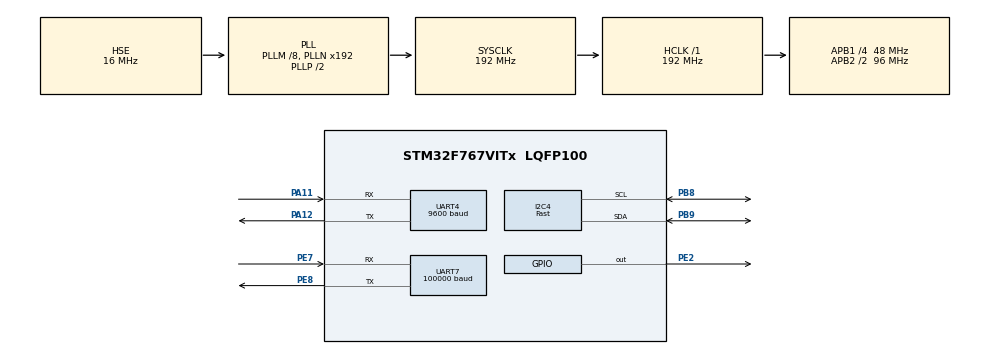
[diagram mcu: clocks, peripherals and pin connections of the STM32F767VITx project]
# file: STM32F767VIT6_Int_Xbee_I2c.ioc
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Dma.Request0=UART7_RX
Dma.UART7_RX.0.Direction=DMA_PERIPH_TO_MEMORY
Dma.UART7_RX.0.FIFOMode=DMA_FIFOMODE_DISABLE
Dma.UART7_RX.0.Instance=DMA1_Stream3
Dma.UART7_RX.0.MemDataAlignment=DMA_MDATAALIGN_BYTE
Dma.UART7_RX.0.MemInc=DMA_MINC_ENABLE
Dma.UART7_RX.0.Mode=DMA_NORMAL
Dma.UART7_RX.0.PeriphDataAlignment=DMA_PDATAALIGN_BYTE
Dma.UART7_RX.0.PeriphInc=DMA_PINC_DISABLE
Dma.UART7_RX.0.Priority=DMA_PRIORITY_LOW
I2C4.I2C_Speed_Mode=I2C_Fast
I2C4.Timing=0x2010091A
Mcu.Family=STM32F7
Mcu.Name=STM32F767VITx
Mcu.Package=LQFP100
NVIC.DMA1_Stream3_IRQn=true\:0\:0\:false\:false\:true\:false\:true
NVIC.PriorityGroup=NVIC_PRIORITYGROUP_4
NVIC.TIM2_IRQn=true\:0\:0\:false\:false\:true\:true\:true
PA11.Mode=Asynchronous
PA11.Signal=UART4_RX
PA12.Mode=Asynchronous
PA12.Signal=UART4_TX
PA13.Mode=Serial_Wire
PA13.Signal=SYS_JTMS-SWDIO
PA14.Mode=Serial_Wire
PA14.Signal=SYS_JTCK-SWCLK
PB8.Mode=I2C
PB8.Signal=I2C4_SCL
PB9.Mode=I2C
PB9.Signal=I2C4_SDA
PE2.Signal=GPIO_Output
PE7.Mode=Asynchronous
PE7.Signal=UART7_RX
PE8.Mode=Asynchronous
PE8.Signal=UART7_TX
PH0/OSC_IN.Mode=HSE-External-Oscillator
PH0/OSC_IN.Signal=RCC_OSC_IN
PH1/OSC_OUT.Mode=HSE-External-Oscillator
PH1/OSC_OUT.Signal=RCC_OSC_OUT
ProjectManager.HeapSize=0x200
ProjectManager.StackSize=0x400
ProjectManager.TargetToolchain=Makefile
RCC.AHBFreq_Value=192000000
RCC.APB1CLKDivider=RCC_HCLK_DIV4
RCC.APB1Freq_Value=48000000
RCC.APB1TimFreq_Value=96000000
RCC.APB2CLKDivider=RCC_HCLK_DIV2
RCC.APB2Freq_Value=96000000
RCC.APB2TimFreq_Value=192000000
RCC.CortexFreq_Value=192000000
RCC.HCLKFreq_Value=192000000
RCC.HSE_VALUE=16000000
RCC.HSI_VALUE=16000000
RCC.LSE_VALUE=32768
RCC.PLLM=8
RCC.PLLSourceVirtual=RCC_PLLSOURCE_HSE
RCC.SYSCLKFreq_VALUE=192000000
RCC.SYSCLKSource=RCC_SYSCLKSOURCE_PLLCLK
RCC.USBFreq_Value=192000000
RCC.VCOOutputFreq_Value=384000000
TIM1.Period=65000
TIM1.Prescaler=191
TIM2.Period=9999
TIM2.Prescaler=95
UART4.BaudRate=9600
UART7.BaudRate=100000
UART7.WordLength=WORDLENGTH_9B
VP_TIM1_VS_ClockSourceINT.Mode=Internal
VP_TIM2_VS_ClockSourceINT.Mode=Internal
board=custom

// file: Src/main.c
/* USER CODE BEGIN Header */
/**
  ******************************************************************************
  * @file           : main.c
  * @brief          : Main program body
  ******************************************************************************
  * @attention
  *
  * <h2><center>&copy; Copyright (c) 2021 STMicroelectronics.
  * All rights reserved.</center></h2>
  *
  * This software component is licensed by ST under BSD 3-Clause license,
  * the "License"; You may not use this file except in compliance with the
  * License. You may obtain a copy of the License at:
  *                        opensource.org/licenses/BSD-3-Clause
  *
  ******************************************************************************
  */
/* USER CODE END Header */

#include "main.h"

/* USER CODE BEGIN Includes */

#include <stdio.h>
#include "BMX160.h"
#include <string.h>

/* USER CODE END Includes */

I2C_HandleTypeDef hi2c4;

TIM_HandleTypeDef htim2;

UART_HandleTypeDef huart4;
UART_HandleTypeDef huart7;
DMA_HandleTypeDef hdma_uart7_rx;

/* USER CODE BEGIN PV */

BMX_IMU_typedef BMX; //BMX strut creation

uint8_t buff[32]; //buffer for data transmission
char string[] = "Hello World!\r\n";
uint8_t main_counter = 0; //counter to trigger events only after some main cycles
uint8_t tlm_counter = 0; //counter to send telemetry
HAL_StatusTypeDef ret;

float Tlm_Tx_buff[6]; //buffer to store the floating point values to send via telemetry

float sample_time = 0.01; //[s] sample time

/* USER CODE END PV */

void SystemClock_Config(void);
static void MX_GPIO_Init(void);
static void MX_DMA_Init(void);
static void MX_I2C4_Init(void);
static void MX_TIM2_Init(void);
static void MX_UART4_Init(void);
static void MX_UART7_Init(void);
static void MX_TIM1_Init(void);
/* USER CODE BEGIN PFP */

void BMX_Init(BMX_IMU_typedef *BMX_str);//init for BMX

/* USER CODE END PFP */

int main(void)
{

  /* MCU Configuration--------------------------------------------------------*/

  /* Reset of all peripherals, Initializes the Flash interface and the Systick. */
  HAL_Init();

  /* Configure the system clock */
  SystemClock_Config();

  /* Initialize all configured peripherals */
  MX_GPIO_Init();
  MX_DMA_Init();
  MX_I2C4_Init();
  MX_TIM2_Init();
  MX_UART4_Init();
  MX_UART7_Init();
  MX_TIM1_Init();
  /* USER CODE BEGIN 2 */

  //BMX initialization

  HAL_Delay(1000);

  LL_TIM_EnableCounter(TIM1);

  BMX_Init(&BMX);

  //writing hello world on xbee
  sprintf((char*)buff, string);

  HAL_UART_Transmit(&huart4, buff, strlen((char*)buff), HAL_MAX_DELAY);

  //BMX calibration
  BMX_calibration(&BMX);

  //Starting timer 2 in interrupt mode
  HAL_TIM_Base_Start_IT(&htim2); //this function start the timer in interrupt mode and calls the irq handler
  //every time that an interrupt event occurs, but the only event which will call a function is period elapsed

  /* USER CODE END 2 */

  /* Infinite loop */
  while (1)
  {

  }
}

void SystemClock_Config(void)
{
  RCC_OscInitTypeDef RCC_OscInitStruct = {0};
  RCC_ClkInitTypeDef RCC_ClkInitStruct = {0};
  RCC_PeriphCLKInitTypeDef PeriphClkInitStruct = {0};

  /** Configure the main internal regulator output voltage
  */
  __HAL_RCC_PWR_CLK_ENABLE();
  __HAL_PWR_VOLTAGESCALING_CONFIG(PWR_REGULATOR_VOLTAGE_SCALE1);
  /** Initializes the CPU, AHB and APB busses clocks
  */
  RCC_OscInitStruct.OscillatorType = RCC_OSCILLATORTYPE_HSE;
  RCC_OscInitStruct.HSEState = RCC_HSE_ON;
  RCC_OscInitStruct.PLL.PLLState = RCC_PLL_ON;
  RCC_OscInitStruct.PLL.PLLSource = RCC_PLLSOURCE_HSE;
  RCC_OscInitStruct.PLL.PLLM = 8;
  RCC_OscInitStruct.PLL.PLLN = 192;
  RCC_OscInitStruct.PLL.PLLP = RCC_PLLP_DIV2;
  RCC_OscInitStruct.PLL.PLLQ = 2;
  if (HAL_RCC_OscConfig(&RCC_OscInitStruct) != HAL_OK)
  {
    Error_Handler();
  }
  /** Activate the Over-Drive mode
  */
  if (HAL_PWREx_EnableOverDrive() != HAL_OK)
  {
    Error_Handler();
  }
  /** Initializes the CPU, AHB and APB busses clocks
  */
  RCC_ClkInitStruct.ClockType = RCC_CLOCKTYPE_HCLK|RCC_CLOCKTYPE_SYSCLK
                              |RCC_CLOCKTYPE_PCLK1|RCC_CLOCKTYPE_PCLK2;
  RCC_ClkInitStruct.SYSCLKSource = RCC_SYSCLKSOURCE_PLLCLK;
  RCC_ClkInitStruct.AHBCLKDivider = RCC_SYSCLK_DIV1;
  RCC_ClkInitStruct.APB1CLKDivider = RCC_HCLK_DIV4;
  RCC_ClkInitStruct.APB2CLKDivider = RCC_HCLK_DIV2;

  if (HAL_RCC_ClockConfig(&RCC_ClkInitStruct, FLASH_LATENCY_6) != HAL_OK)
  {
    Error_Handler();
  }
  PeriphClkInitStruct.PeriphClockSelection = RCC_PERIPHCLK_UART4|RCC_PERIPHCLK_UART7
                              |RCC_PERIPHCLK_I2C4;
  PeriphClkInitStruct.Uart4ClockSelection = RCC_UART4CLKSOURCE_PCLK1;
  PeriphClkInitStruct.Uart7ClockSelection = RCC_UART7CLKSOURCE_PCLK1;
  PeriphClkInitStruct.I2c4ClockSelection = RCC_I2C4CLKSOURCE_PCLK1;
  if (HAL_RCCEx_PeriphCLKConfig(&PeriphClkInitStruct) != HAL_OK)
  {
    Error_Handler();
  }
}

static void MX_I2C4_Init(void)
{

  hi2c4.Instance = I2C4;
  hi2c4.Init.Timing = 0x2010091A;
  hi2c4.Init.OwnAddress1 = 0;
  hi2c4.Init.AddressingMode = I2C_ADDRESSINGMODE_7BIT;
  hi2c4.Init.DualAddressMode = I2C_DUALADDRESS_DISABLE;
  hi2c4.Init.OwnAddress2 = 0;
  hi2c4.Init.OwnAddress2Masks = I2C_OA2_NOMASK;
  hi2c4.Init.GeneralCallMode = I2C_GENERALCALL_DISABLE;
  hi2c4.Init.NoStretchMode = I2C_NOSTRETCH_DISABLE;
  if (HAL_I2C_Init(&hi2c4) != HAL_OK)
  {
    Error_Handler();
  }
  /** Configure Analogue filter
  */
  if (HAL_I2CEx_ConfigAnalogFilter(&hi2c4, I2C_ANALOGFILTER_ENABLE) != HAL_OK)
  {
    Error_Handler();
  }
  /** Configure Digital filter
  */
  if (HAL_I2CEx_ConfigDigitalFilter(&hi2c4, 0) != HAL_OK)
  {
    Error_Handler();
  }

}

static void MX_TIM1_Init(void)
{

  LL_TIM_InitTypeDef TIM_InitStruct = {0};

  /* Peripheral clock enable */
  LL_APB2_GRP1_EnableClock(LL_APB2_GRP1_PERIPH_TIM1);

  TIM_InitStruct.Prescaler = 191;
  TIM_InitStruct.CounterMode = LL_TIM_COUNTERMODE_UP;
  TIM_InitStruct.Autoreload = 65000;
  TIM_InitStruct.ClockDivision = LL_TIM_CLOCKDIVISION_DIV1;
  TIM_InitStruct.RepetitionCounter = 0;
  LL_TIM_Init(TIM1, &TIM_InitStruct);
  LL_TIM_DisableARRPreload(TIM1);
  LL_TIM_SetClockSource(TIM1, LL_TIM_CLOCKSOURCE_INTERNAL);
  LL_TIM_SetTriggerOutput(TIM1, LL_TIM_TRGO_RESET);
  LL_TIM_SetTriggerOutput2(TIM1, LL_TIM_TRGO2_RESET);
  LL_TIM_DisableMasterSlaveMode(TIM1);

}

static void MX_TIM2_Init(void)
{

  TIM_ClockConfigTypeDef sClockSourceConfig = {0};
  TIM_MasterConfigTypeDef sMasterConfig = {0};

  htim2.Instance = TIM2;
  htim2.Init.Prescaler = 95;
  htim2.Init.CounterMode = TIM_COUNTERMODE_UP;
  htim2.Init.Period = 9999;
  htim2.Init.ClockDivision = TIM_CLOCKDIVISION_DIV1;
  htim2.Init.AutoReloadPreload = TIM_AUTORELOAD_PRELOAD_DISABLE;
  if (HAL_TIM_Base_Init(&htim2) != HAL_OK)
  {
    Error_Handler();
  }
  sClockSourceConfig.ClockSource = TIM_CLOCKSOURCE_INTERNAL;
  if (HAL_TIM_ConfigClockSource(&htim2, &sClockSourceConfig) != HAL_OK)
  {
    Error_Handler();
  }
  sMasterConfig.MasterOutputTrigger = TIM_TRGO_RESET;
  sMasterConfig.MasterSlaveMode = TIM_MASTERSLAVEMODE_DISABLE;
  if (HAL_TIMEx_MasterConfigSynchronization(&htim2, &sMasterConfig) != HAL_OK)
  {
    Error_Handler();
  }

}

static void MX_UART4_Init(void)
{

  huart4.Instance = UART4;
  huart4.Init.BaudRate = 115200;
  huart4.Init.WordLength = UART_WORDLENGTH_8B;
  huart4.Init.StopBits = UART_STOPBITS_1;
  huart4.Init.Parity = UART_PARITY_NONE;
  huart4.Init.Mode = UART_MODE_TX_RX;
  huart4.Init.HwFlowCtl = UART_HWCONTROL_NONE;
  huart4.Init.OverSampling = UART_OVERSAMPLING_16;
  huart4.Init.OneBitSampling = UART_ONE_BIT_SAMPLE_DISABLE;
  huart4.AdvancedInit.AdvFeatureInit = UART_ADVFEATURE_NO_INIT;
  if (HAL_UART_Init(&huart4) != HAL_OK)
  {
    Error_Handler();
  }

}

static void MX_UART7_Init(void)
{

  huart7.Instance = UART7;
  huart7.Init.BaudRate = 100000;
  huart7.Init.WordLength = UART_WORDLENGTH_9B;
  huart7.Init.StopBits = UART_STOPBITS_1;
  huart7.Init.Parity = UART_PARITY_NONE;
  huart7.Init.Mode = UART_MODE_TX_RX;
  huart7.Init.HwFlowCtl = UART_HWCONTROL_NONE;
  huart7.Init.OverSampling = UART_OVERSAMPLING_16;
  huart7.Init.OneBitSampling = UART_ONE_BIT_SAMPLE_DISABLE;
  huart7.AdvancedInit.AdvFeatureInit = UART_ADVFEATURE_NO_INIT;
  if (HAL_UART_Init(&huart7) != HAL_OK)
  {
    Error_Handler();
  }

}

static void MX_DMA_Init(void)
{

  /* DMA controller clock enable */
  __HAL_RCC_DMA1_CLK_ENABLE();

  /* DMA interrupt init */
  /* DMA1_Stream3_IRQn interrupt configuration */
  HAL_NVIC_SetPriority(DMA1_Stream3_IRQn, 0, 0);
  HAL_NVIC_EnableIRQ(DMA1_Stream3_IRQn);

}

static void MX_GPIO_Init(void)
{
  GPIO_InitTypeDef GPIO_InitStruct = {0};

  /* GPIO Ports Clock Enable */
  __HAL_RCC_GPIOE_CLK_ENABLE();
  __HAL_RCC_GPIOH_CLK_ENABLE();
  __HAL_RCC_GPIOA_CLK_ENABLE();
  __HAL_RCC_GPIOB_CLK_ENABLE();

  /*Configure GPIO pin Output Level */
  HAL_GPIO_WritePin(GPIOE, GPIO_PIN_2, GPIO_PIN_RESET);

  /*Configure GPIO pin : PE2 */
  GPIO_InitStruct.Pin = GPIO_PIN_2;
  GPIO_InitStruct.Mode = GPIO_MODE_OUTPUT_PP;
  GPIO_InitStruct.Pull = GPIO_NOPULL;
  GPIO_InitStruct.Speed = GPIO_SPEED_FREQ_LOW;
  HAL_GPIO_Init(GPIOE, &GPIO_InitStruct);

}

/* USER CODE BEGIN 4 */
void BMX_Init(BMX_IMU_typedef *BMX_str){

  //initialization for BMX struct values
  BMX_str->i2c_handler_ptr=&hi2c4;
  BMX_str->uart_hndler_ptr=&huart4;
  BMX_str->acc_FS_conv=0.000122f; //[mg/LSB] to multiply the int16 value and obtain a float
  BMX_str->gyro_FS_conv=0.0153f; //[deg/s/LSB] to multiply the int16 value and obtain a float
  BMX_str->T_samp=sample_time;
  BMX_str->LPF_const_raw=0.2334f; //constants for 10Hz CO and 10 ms sample time
  BMX_str->LPF_const_filt_1=0.5333f;

  for(int init_count=0; init_count<3; init_count++){//set to 0 initial values

    BMX_str->Acceleration[init_count]=0.0f;
    BMX_str->Omega[init_count]=0.0f;
    BMX_str->Acc_LPFd[init_count]=0.0f;
    BMX_str->Omega_LPFd[init_count]=0.0f;
    BMX_str->acc_st_bias[init_count]=0.0f;
    BMX_str->gyro_st_bias[init_count]=0.0f;

  }

  //Initialization for values of BMX---> device register settings
  //gyro init and config
	buff[0] = GYRO_CONF_REG;
	buff[1] = 0b00101001;//set the Gyro conf register (see the red notebook page 10)
  //set for 200Hz ODR and digital filter normal mode
  if(HAL_I2C_Master_Transmit(BMX_str->i2c_handler_ptr, BMX160Address, buff, 2, HAL_MAX_DELAY)==HAL_OK){
    sprintf((char*)buff, "Gyro conf OK!\n\r");
    HAL_UART_Transmit(&huart4, buff, strlen((char*)buff), HAL_MAX_DELAY);
  } else{
    sprintf((char*)buff, "ERROR BMX\n\r");
    HAL_UART_Transmit(&huart4, buff, strlen((char*)buff), HAL_MAX_DELAY);
  }

  //wait
  LL_TIM_SetCounter(TIM1, 0);
  while(LL_TIM_GetCounter(TIM1)<10000){}

	//acc init and config
	buff[0] = ACC_CONF_REG;
	buff[1] = 0b00101001;//set the Acc conf register to 200Hz for output data rate and digital filter normal mode
  if(HAL_I2C_Master_Transmit(BMX_str->i2c_handler_ptr, BMX160Address, buff, 2, HAL_MAX_DELAY)==HAL_OK){
    sprintf((char*)buff, "Gyro conf OK!\n\r");
    HAL_UART_Transmit(&huart4, buff, strlen((char*)buff), HAL_MAX_DELAY);
  } else{
    sprintf((char*)buff, "ERROR BMX\n\r");
    HAL_UART_Transmit(&huart4, buff, strlen((char*)buff), HAL_MAX_DELAY);
  }

  //wait
  LL_TIM_SetCounter(TIM1, 0);
  while(LL_TIM_GetCounter(TIM1)<10000){}

	//acc range config
	buff[0] = ACC_RANGE_REG;
	buff[1] = 0b00000101;//set the Acc range register (see the red notebook appropriate page)
    //this set for a +-4g full scale -> 0.000122 g/LSB Coeff to multiply to in16 data to obtain float
	if(HAL_I2C_Master_Transmit(BMX_str->i2c_handler_ptr, BMX160Address, buff, 2, HAL_MAX_DELAY)==HAL_OK){
    sprintf((char*)buff, "Gyro conf OK!\n\r");
    HAL_UART_Transmit(&huart4, buff, strlen((char*)buff), HAL_MAX_DELAY);
  } else{
    sprintf((char*)buff, "ERROR BMX\n\r");
    HAL_UART_Transmit(&huart4, buff, strlen((char*)buff), HAL_MAX_DELAY);
  }

  //wait
  LL_TIM_SetCounter(TIM1, 0);
  while(LL_TIM_GetCounter(TIM1)<10000){}

    //gyro range config
	buff[0]=GYRO_RANGE_REG;
	buff[1]=0b00000010;//set the gyro range register (see the red notebook appropriate page)
    //this set for a +-500 deg/s full scale -> 0.0153 deg/s/LSB Coeff to multiply to in16 data to obtain float
	if(HAL_I2C_Master_Transmit(BMX_str->i2c_handler_ptr, BMX160Address, buff, 2, HAL_MAX_DELAY)==HAL_OK){
    sprintf((char*)buff, "Gyro conf OK!\n\r");
    HAL_UART_Transmit(&huart4, buff, strlen((char*)buff), HAL_MAX_DELAY);
  } else{
    sprintf((char*)buff, "ERROR BMX\n\r");
    HAL_UART_Transmit(&huart4, buff, strlen((char*)buff), HAL_MAX_DELAY);
  }

  //wait
  LL_TIM_SetCounter(TIM1, 0);
  while(LL_TIM_GetCounter(TIM1)<10000){}

  //power mode to normal is set
  //change the power mode to normal for the gyro
	buff[0] = BMX_PM_REG;
  buff[1] = 0x15;//command for normal mode for gyro;
	if(HAL_I2C_Master_Transmit(BMX_str->i2c_handler_ptr, BMX160Address, buff, 2, HAL_MAX_DELAY)==HAL_OK){
    sprintf((char*)buff, "Gyro conf OK!\n\r");
    HAL_UART_Transmit(&huart4, buff, strlen((char*)buff), HAL_MAX_DELAY);
  } else{
    sprintf((char*)buff, "ERROR BMX\n\r");
    HAL_UART_Transmit(&huart4, buff, strlen((char*)buff), HAL_MAX_DELAY);
  }

  //wait
  HAL_Delay(500);

	//change the power mode to normal for the Acc see appropriate page of the notebook
  //the power mode is changed writing two times to the PMU reg
	buff[0] = BMX_PM_REG;
	buff[1] = 0x11;//command for normal mode for accelerometer;
	if(HAL_I2C_Master_Transmit(BMX_str->i2c_handler_ptr, BMX160Address, buff, 2, HAL_MAX_DELAY)==HAL_OK){
    sprintf((char*)buff, "Acc pow OK!\n\r");
    HAL_UART_Transmit(&huart4, buff, strlen((char*)buff), HAL_MAX_DELAY);
  } else{
    sprintf((char*)buff, "ERROR ACP\n\r");
    HAL_UART_Transmit(&huart4, buff, strlen((char*)buff), HAL_MAX_DELAY);
  }

  //wait
  LL_TIM_SetCounter(TIM1, 0);
  while(LL_TIM_GetCounter(TIM1)<600){}

}

//definition of IRQhandler functions callback
void HAL_TIM_PeriodElapsedCallback(TIM_HandleTypeDef* htim){

  if (htim==&htim2){

    if(main_counter>=100){
      main_counter = 0;
      HAL_GPIO_TogglePin(GPIOE, GPIO_PIN_2);//led toggle

      // sprintf((char*)buff, "accX= %f\n\r", BMX.Acceleration[0]);
      // HAL_UART_Transmit(&huart4, buff, strlen((char*)buff), HAL_MAX_DELAY);

    }

    BMX_read(&BMX); //Imu data read and save to the struct: data are raw unfiltered and maybe biased
    BMX_LPF(&BMX);

    if (1){

      //fill the telemetry array with red values
      for (int i_tlm=0; i_tlm<6; i_tlm++) {
        if (i_tlm<3) {
          *(Tlm_Tx_buff+i_tlm) = BMX.Omega_LPFd[i_tlm];
        }
        else if (i_tlm>=3 && i_tlm<6) {
          *(Tlm_Tx_buff+i_tlm) = BMX.Acc_LPFd[i_tlm - 3];
        }
      }

      /* sprintf((char*)buff, "OmX= %f\n\r", Tlm_Tx_buff[0]);
      HAL_UART_Transmit(&huart4, buff, strlen((char*)buff), HAL_MAX_DELAY);

      sprintf((char*)buff, "OmY= %f\n\r", Tlm_Tx_buff[1]);
      HAL_UART_Transmit(&huart4, buff, strlen((char*)buff), HAL_MAX_DELAY);

      sprintf((char*)buff, "OmZ= %f\n\r", Tlm_Tx_buff[2]);
      HAL_UART_Transmit(&huart4, buff, strlen((char*)buff), HAL_MAX_DELAY);

      sprintf((char*)buff, "aX= %f\n\r", Tlm_Tx_buff[3]);
      HAL_UART_Transmit(&huart4, buff, strlen((char*)buff), HAL_MAX_DELAY);

      sprintf((char*)buff, "aY= %f\n\r", Tlm_Tx_buff[4]);
      HAL_UART_Transmit(&huart4, buff, strlen((char*)buff), HAL_MAX_DELAY);

      sprintf((char*)buff, "aZ= %f\n\r", Tlm_Tx_buff[5]);
      HAL_UART_Transmit(&huart4, buff, strlen((char*)buff), HAL_MAX_DELAY); */

      //send the telemetry array typecasted
      HAL_UART_Transmit(&huart4, (uint8_t*)Tlm_Tx_buff, 24, HAL_MAX_DELAY);

      //tlm_counter = 0;

    }

    //tlm_counter += 1;
    main_counter += 1;
  }
}

/* USER CODE END 4 */

void Error_Handler(void)
{
}

/************************ (C) COPYRIGHT STMicroelectronics *****END OF FILE****/
